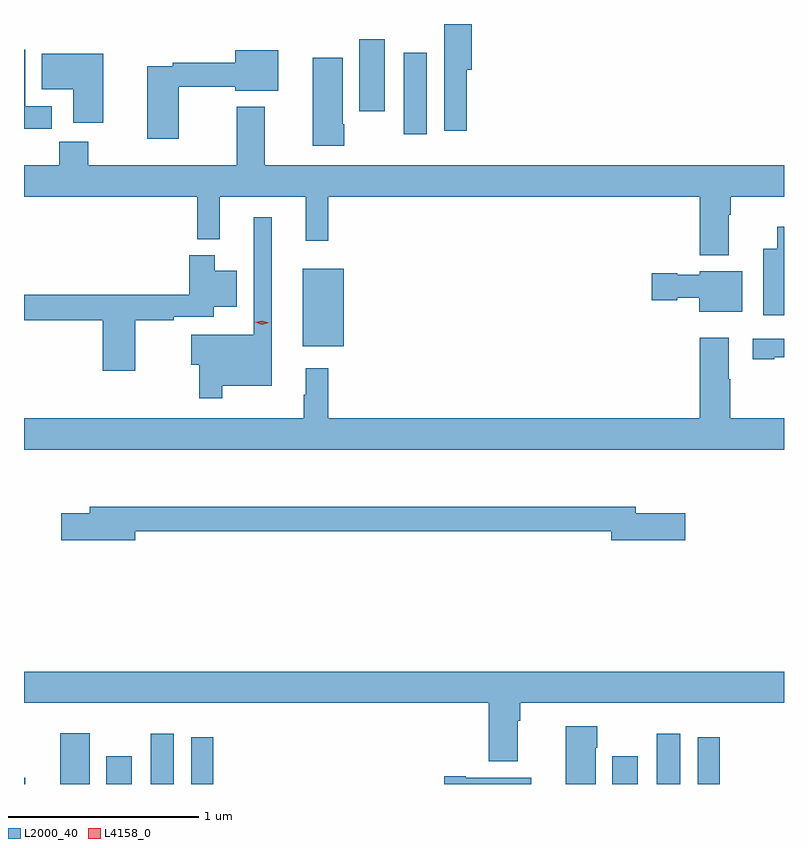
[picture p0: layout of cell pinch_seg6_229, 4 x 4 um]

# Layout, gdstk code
import gdstk
lib = gdstk.Library(unit=1e-6, precision=1e-09)
def R(c, l, rs):  # rectangles x0, y0, x1, y1
    for r in rs: c.add(gdstk.rectangle(r[:2], r[2:], *l))
def P(c, l, *ps):  # polygons
    for p in ps: c.add(gdstk.Polygon(p, *l))
L2000_40 = (2000, 40)
L4158_0 = (4158, 0)

pinch_seg6_229 = lib.new_cell('pinch_seg6_229')
R(pinch_seg6_229, L2000_40, [(1125.511,922.932,1125.517,922.966), (1125.701,922.932,1125.856,923.2), (1125.944,922.932,1126.078,923.077), (1126.178,922.932,1126.3,923.197), (1126.392,922.932,1126.508,923.179), (1128.608,922.932,1128.742,923.077), (1128.842,922.932,1128.964,923.197), (1129.056,922.932,1129.172,923.179), (1126.979,925.235,1127.194,925.645), (1127.51,926.352,1127.632,926.782), (1127.276,926.472,1127.41,926.852), (1126.625,926.931,1126.777,926.932)])
P(pinch_seg6_229, L2000_40, [(1127.84,926.69),(1127.867,926.69),(1127.867,926.932),(1127.724,926.932),(1127.724,926.37),(1127.84,926.37)],
  [(1125.656,926.5),(1125.517,926.5),(1125.517,926.797),(1125.511,926.797),(1125.511,926.382),(1125.656,926.382)],
  [(1126.326,926.601),(1126.622,926.601),(1126.622,926.582),(1126.849,926.582),(1126.849,926.794),(1126.622,926.794),(1126.622,926.729),(1126.294,926.729),(1126.294,926.709),(1126.16,926.709),(1126.16,926.328),(1126.326,926.328)],
  [(1125.928,926.776),(1125.605,926.776),(1125.605,926.588),(1125.77,926.588),(1125.77,926.412),(1125.928,926.412)],
  [(1127.196,926.404),(1127.188,926.404),(1127.188,926.755),(1127.03,926.755),(1127.03,926.292),(1127.196,926.292)],
  [(1129.219,925.928),(1129.232,925.928),(1129.232,926.024),(1129.511,926.024),(1129.511,926.188),(1126.777,926.188),(1126.777,926.497),(1126.63,926.497),(1126.63,926.188),(1125.849,926.188),(1125.849,926.312),(1125.697,926.312),(1125.697,926.188),(1125.511,926.188),(1125.511,926.024),(1126.423,926.024),(1126.423,925.799),(1126.541,925.799),(1126.541,926.024),(1126.994,926.024),(1126.994,925.791),(1127.111,925.791),(1127.111,926.024),(1129.067,926.024),(1129.067,925.715),(1129.219,925.715)],
  [(1126.555,925.028),(1126.816,925.028),(1126.816,925.915),(1126.719,925.915),(1126.719,925.297),(1126.392,925.297),(1126.392,925.139),(1126.434,925.139),(1126.434,924.963),(1126.555,924.963)],
  [(1129.511,925.864),(1129.475,925.864),(1129.475,925.75),(1129.403,925.75),(1129.403,925.398),(1129.511,925.398)],
  [(1126.096,925.372),(1126.298,925.372),(1126.298,925.392),(1126.51,925.392),(1126.51,925.445),(1126.63,925.445),(1126.63,925.633),(1126.516,925.633),(1126.516,925.714),(1126.382,925.714),(1126.382,925.508),(1125.511,925.508),(1125.511,925.372),(1125.926,925.372),(1125.926,925.107),(1126.096,925.107)],
  [(1129.291,925.63),(1129.068,925.63),(1129.068,925.612),(1128.948,925.612),(1128.948,925.62),(1128.816,925.62),(1128.816,925.478),(1128.948,925.478),(1128.948,925.49),(1129.064,925.49),(1129.064,925.418),(1129.291,925.418)],
  [(1129.511,924.856),(1129.227,924.856),(1129.227,925.061),(1129.219,925.061),(1129.219,925.282),(1129.067,925.282),(1129.067,924.856),(1127.111,924.856),(1127.111,925.12),(1126.994,925.12),(1126.994,924.98),(1126.983,924.98),(1126.983,924.856),(1125.511,924.856),(1125.511,924.692),(1129.511,924.692)],
  [(1129.459,925.177),(1129.511,925.177),(1129.511,925.275),(1129.347,925.275),(1129.347,925.167),(1129.459,925.167)],
  [(1126.096,924.262),(1128.602,924.262),(1128.602,924.215),(1128.991,924.215),(1128.991,924.357),(1128.73,924.357),(1128.73,924.391),(1125.857,924.391),(1125.857,924.357),(1125.708,924.357),(1125.708,924.215),(1126.096,924.215)],
  [(1128.109,923.264),(1128.122,923.264),(1128.122,923.36),(1129.511,923.36),(1129.511,923.524),(1125.511,923.524),(1125.511,923.36),(1127.957,923.36),(1127.957,923.051),(1128.109,923.051)],
  [(1128.52,923.123),(1128.528,923.123),(1128.528,923.236),(1128.362,923.236),(1128.362,922.932),(1128.52,922.932)],
  [(1128.181,922.966),(1127.836,922.966),(1127.836,922.974),(1127.724,922.974),(1127.724,922.932),(1128.181,922.932)])
P(pinch_seg6_229, L4158_0, [(1126.764,925.35),(1126.729,925.362),(1126.729,925.362),(1126.729,925.362),(1126.765,925.37),(1126.8,925.359),(1126.8,925.359),(1126.8,925.359)])

lib.write_gds('pinch_seg6_229.gds')
